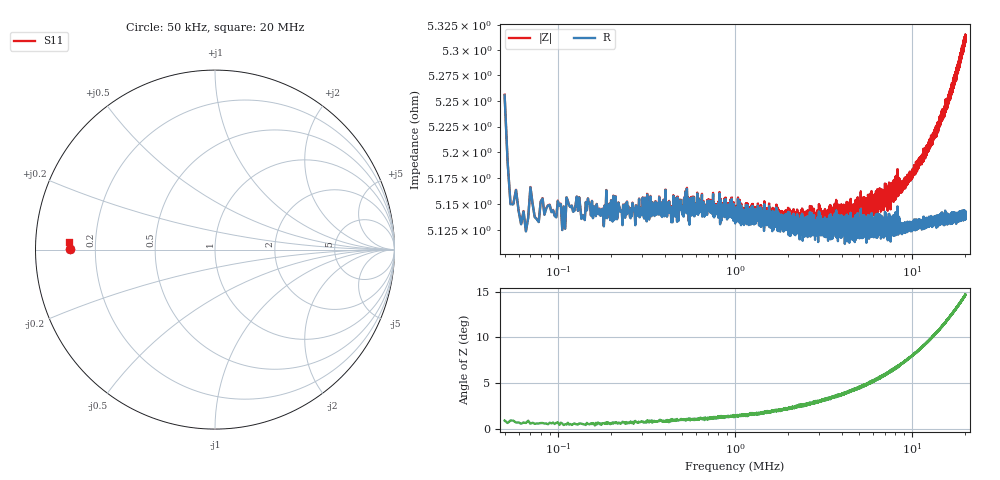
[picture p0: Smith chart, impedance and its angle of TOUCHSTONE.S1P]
!Keysight Technologies,E5063A,MY54100949,A.07.00
!Date: Tue Nov 25 21:31:23 2025
!Data & Calibration Information:
!Freq	S11:SOLT1(ON)
# Hz S RI R 50
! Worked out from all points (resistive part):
!   10001 points, 50 kHz to 20 MHz, reference 50 ohm
!   read as one part to ground: R = 5.15 ohm at 149.8 kHz
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50000  -0.8098 0.0027
151745  -0.8132 0.00149
159725  -0.8133 0.00164
207605  -0.8137 0.00203
470945  -0.8138 0.00317
877925  -0.8134 0.00385
1097375  -0.8137 0.00422
1428545  -0.8136 0.00534
1683905  -0.8136 0.00592
2168690  -0.8138 0.00667
2314325  -0.8139 0.00728
2543750  -0.8139 0.00793
3281900  -0.8139 0.00989
3607085  -0.814 0.0102
4233515  -0.814 0.0118
5037500  -0.814 0.0136
5925275  -0.8139 0.0152
6180635  -0.8137 0.0157
7531250  -0.8141 0.0185
8081870  -0.8138 0.0195
8393090  -0.8139 0.0204
8686355  -0.8138 0.0211
1.0025e7  -0.8137 0.0237
1.251875e7  -0.8133 0.0288
1.50125e7  -0.813 0.034
1.680401e7  -0.813 0.0376
1.750625e7  -0.8128 0.039
2e7  -0.8125 0.0442
